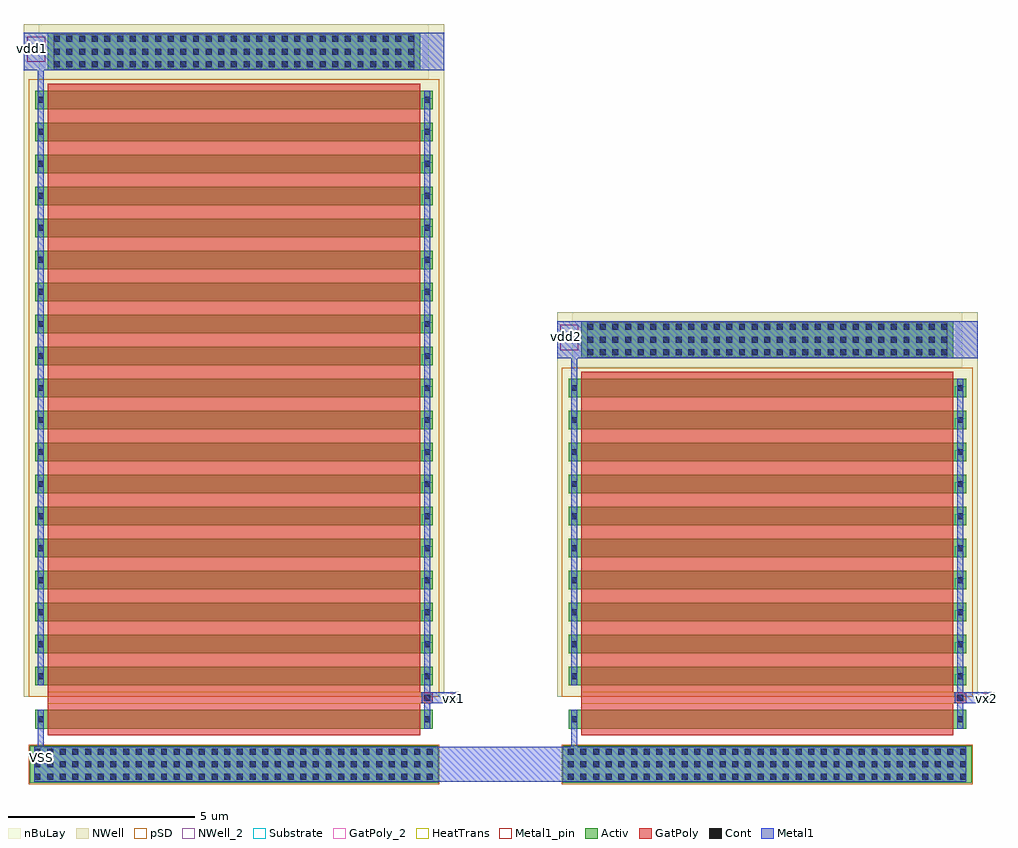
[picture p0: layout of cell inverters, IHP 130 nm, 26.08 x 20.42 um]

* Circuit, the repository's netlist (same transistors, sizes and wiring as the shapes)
** sch_path: /home/designer/shared/designs/SSDOR_1.2V_v3/components/comp_w_hyst/inverters.sch
.subckt inverters vss vdd1 vdd2 vx1 vx2
*.PININFO vss:B vdd1:B vdd2:B vx1:O vx2:O
MM21 vx1 vx1 vdd1 well1 sg13_lv_pmos w=0.5u l=10u ng=1 m=19
MM22 vx1 vx1 vss vss sg13_lv_nmos w=0.5u l=10u ng=1 m=1
MM23 vx2 vx2 vdd2 well2 sg13_lv_pmos w=0.5u l=10u ng=1 m=10
MM24 vx2 vx2 vss vss sg13_lv_nmos w=0.5u l=10u ng=1 m=1
RR1 vdd1 well1 ntap1 A=1e-11 P=2.2e-05
RR2 vdd2 well2 ntap1 A=1e-11 P=2.2e-05
.ends

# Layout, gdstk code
import gdstk
lib = gdstk.Library(unit=1e-6, precision=5e-09)
def R(c, l, rs):  # rectangles x0, y0, x1, y1
    for r in rs: c.add(gdstk.rectangle(r[:2], r[2:], *l))
def A(c, l, x, y, w, h, nx, ny, dx, dy):  # array of equal rectangles
    R(c, l, [(x+i*dx, y+j*dy, x+i*dx+w, y+j*dy+h) for i in range(nx) for j in range(ny)])
Activ = (1, 0)
GatPoly = (5, 0)
GatPoly_2 = (5, 2)
Cont = (6, 0)
Metal1 = (8, 0)
Metal1_pin = (8, 2)
pSD = (14, 0)
NWell = (31, 0)
NWell_2 = (31, 2)
nBuLay = (32, 0)
Substrate = (40, 0)
HeatTrans = (51, 0)

pmos_1 = lib.new_cell('pmos$1')
R(pmos_1, Activ, [(0,0,0.3,0.3), (0,0,10.68,0.5), (10.38,0,10.68,0.3)])
R(pmos_1, GatPoly, [(0.34,-0.18,10.34,0.68), (0.34,-0.18,10.34,0.68)])
R(pmos_1, Cont, [(0.07,0.17,0.23,0.33), (10.45,0.17,10.61,0.33)])
R(pmos_1, Metal1, [(0.07,0,0.23,0.5), (0.07,0,0.23,0.5), (10.45,0,10.61,0.5), (10.45,0,10.61,0.5)])
R(pmos_1, pSD, [(-0.18,-0.3,10.86,0.8)])
R(pmos_1, NWell, [(-0.31,-0.31,10.99,0.81)])
R(pmos_1, Substrate, [(10.38,0,10.68,0.3)])
R(pmos_1, HeatTrans, [(0.34,-0.18,10.34,0.68)])
pmos_1.add(gdstk.Label('pmos', (5.34,0.25), layer=63, texttype=0))
pmos_1.add(gdstk.Label('pmos', (5.34,0.25), layer=51, texttype=0))

nmos = lib.new_cell('nmos')
R(nmos, Activ, [(0,0,0.3,0.3), (0,0,10.68,0.5), (10.38,0,10.68,0.3)])
R(nmos, GatPoly, [(0.34,-0.18,10.34,0.68)])
R(nmos, GatPoly_2, [(0.34,-0.18,10.34,0.68)])
R(nmos, Cont, [(0.07,0.17,0.23,0.33), (10.45,0.17,10.61,0.33)])
R(nmos, Metal1, [(0.07,0,0.23,0.5), (10.45,0,10.61,0.5)])
R(nmos, Metal1_pin, [(0.07,0,0.23,0.5), (10.45,0,10.61,0.5)])
R(nmos, HeatTrans, [(0.34,-0.18,10.34,0.68)])
nmos.add(gdstk.Label('nmos', (5.34,0.25), layer=63, texttype=0))
nmos.add(gdstk.Label('nmos', (5.34,0.25), layer=51, texttype=0))

ntap1_1 = lib.new_cell('ntap1$1')
R(ntap1_1, Activ, [(0,0,10,1)])
A(ntap1_1, Cont, 0.16, 0.08, 0.16, 0.16, 29, 3, 0.34, 0.34)
R(ntap1_1, Metal1, [(0.16,0.03,9.84,0.97)])
R(ntap1_1, Metal1_pin, [(0.16,0.03,9.84,0.97), (0.16,0.08,9.84,0.92)])
R(ntap1_1, NWell, [(-0.24,-0.24,10.24,1.24), (0,0,10,1)])
R(ntap1_1, NWell_2, [(0,0,10,1)])
R(ntap1_1, nBuLay, [(-0.24,-0.24,10.24,1.24)])
ntap1_1.add(gdstk.Label('well', (5,0.01), layer=31, texttype=0))
ntap1_1.add(gdstk.Label('well', (5,0.01), layer=63, texttype=0))

inverters = lib.new_cell('inverters')
R(inverters, Activ, [(-0.59,-17.985,10.39,-16.985), (13.74,-17.985,24.72,-16.985)])
R(inverters, GatPoly, [(-0.1,-16.705,9.9,0.795), (14.23,-16.705,24.23,-6.945), (9.9,-15.845,10.24,-15.545), (24.23,-15.845,24.57,-15.545)])
A(inverters, Cont, -0.46, -17.905, 0.16, 0.16, 32, 3, 0.34, 0.34)
A(inverters, Cont, 13.87, -17.905, 0.16, 0.16, 32, 3, 0.34, 0.34)
R(inverters, Cont, [(10.01,-15.775,10.17,-15.615), (24.34,-15.775,24.5,-15.615)])
R(inverters, Metal1, [(-0.46,-17.955,10.24,-17.015), (-0.37,-17.955,-0.21,-16.025), (10.24,-17.955,24.57,-17.015), (13.96,-17.955,14.12,-16.025), (10.01,-16.525,10.17,0.615), (24.34,-16.525,24.5,-7.125), (9.94,-15.845,11,-15.545), (24.27,-15.845,25.33,-15.545), (-0.37,-15.365,-0.21,2.165), (13.96,-15.365,14.12,-5.575), (13.58,-6.575,24.88,-5.575), (-0.75,1.165,10.55,2.165)])
R(inverters, Metal1_pin, [(-0.46,-17.465,0,-17.015), (10.705,-15.81,10.945,-15.585), (25.035,-15.81,25.275,-15.585), (13.67,-6.355,14.155,-5.68), (-0.66,1.385,-0.175,2.06)])
R(inverters, pSD, [(-0.62,-18.015,10.42,-16.955), (13.71,-18.015,24.75,-16.955)])
R(inverters, NWell, [(-0.75,-15.675,10.55,2.405), (13.58,-15.675,24.88,-5.335)])
inverters.add(gdstk.Reference(pmos_1, (-0.44,0.115)))
inverters.add(gdstk.Reference(pmos_1, (-0.44,-0.745)))
inverters.add(gdstk.Reference(pmos_1, (-0.44,-1.605)))
inverters.add(gdstk.Reference(pmos_1, (-0.44,-2.465)))
inverters.add(gdstk.Reference(pmos_1, (-0.44,-3.325)))
inverters.add(gdstk.Reference(pmos_1, (-0.44,-4.185)))
inverters.add(gdstk.Reference(pmos_1, (-0.44,-5.045)))
inverters.add(gdstk.Reference(pmos_1, (-0.44,-5.905)))
inverters.add(gdstk.Reference(pmos_1, (-0.44,-6.765)))
inverters.add(gdstk.Reference(pmos_1, (-0.44,-7.625)))
inverters.add(gdstk.Reference(pmos_1, (-0.44,-8.485)))
inverters.add(gdstk.Reference(pmos_1, (-0.44,-9.345)))
inverters.add(gdstk.Reference(pmos_1, (-0.44,-10.205)))
inverters.add(gdstk.Reference(pmos_1, (-0.44,-11.925)))
inverters.add(gdstk.Reference(pmos_1, (-0.44,-12.785)))
inverters.add(gdstk.Reference(pmos_1, (-0.44,-11.925)))
inverters.add(gdstk.Reference(pmos_1, (-0.44,-12.785)))
inverters.add(gdstk.Reference(pmos_1, (-0.44,-11.065)))
inverters.add(gdstk.Reference(pmos_1, (-0.44,-14.505)))
inverters.add(gdstk.Reference(pmos_1, (-0.44,-15.365)))
inverters.add(gdstk.Reference(pmos_1, (-0.44,-14.505)))
inverters.add(gdstk.Reference(pmos_1, (-0.44,-15.365)))
inverters.add(gdstk.Reference(pmos_1, (-0.44,-13.645)))
inverters.add(gdstk.Reference(nmos, (-0.44,-16.525)))
inverters.add(gdstk.Reference(ntap1_1, (-0.1,1.165)))
inverters.add(gdstk.Reference(pmos_1, (13.89,-7.625)))
inverters.add(gdstk.Reference(pmos_1, (13.89,-8.485)))
inverters.add(gdstk.Reference(pmos_1, (13.89,-9.345)))
inverters.add(gdstk.Reference(pmos_1, (13.89,-10.205)))
inverters.add(gdstk.Reference(pmos_1, (13.89,-11.925)))
inverters.add(gdstk.Reference(pmos_1, (13.89,-12.785)))
inverters.add(gdstk.Reference(pmos_1, (13.89,-11.925)))
inverters.add(gdstk.Reference(pmos_1, (13.89,-12.785)))
inverters.add(gdstk.Reference(pmos_1, (13.89,-11.065)))
inverters.add(gdstk.Reference(pmos_1, (13.89,-14.505)))
inverters.add(gdstk.Reference(pmos_1, (13.89,-15.365)))
inverters.add(gdstk.Reference(pmos_1, (13.89,-14.505)))
inverters.add(gdstk.Reference(pmos_1, (13.89,-15.365)))
inverters.add(gdstk.Reference(pmos_1, (13.89,-13.645)))
inverters.add(gdstk.Reference(nmos, (13.89,-16.525)))
inverters.add(gdstk.Reference(ntap1_1, (14.23,-6.575)))
inverters.add(gdstk.Label('VSS', (-0.275,-17.295), layer=8, texttype=25))
inverters.add(gdstk.Label('vdd1', (-0.505,1.74), layer=8, texttype=25))
inverters.add(gdstk.Label('vx1', (10.795,-15.715), layer=8, texttype=25))
inverters.add(gdstk.Label('vdd2', (13.825,-6), layer=8, texttype=25))
inverters.add(gdstk.Label('vx2', (25.125,-15.715), layer=8, texttype=25))

lib.write_gds('inverters.gds')
